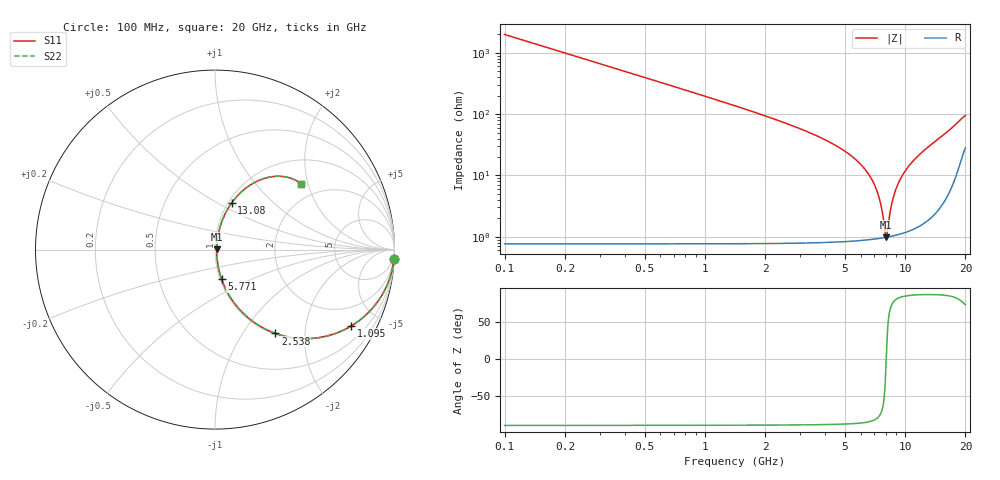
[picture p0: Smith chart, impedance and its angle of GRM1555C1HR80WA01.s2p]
!Murata Part Number: GRM1555C1HR80WA01
!These Parameters are Measured in Series Mode Connection
!Data Generated on Mar 30, 2021
!  o--ll--o
!Port1  Port2
!  o------o
!Operation Temp=25[degC], DC Bias Voltage=0[V]
!Freq. Start=100[MHz] Stop=20[GHz] 401[Steps]
# Hz S RI R 50
!Freq.(Hz) S11(Real) S11(Imag) S21(Real) S21(Imag) S12(Real) S12(Imag) S22(Real) S22(Imag)
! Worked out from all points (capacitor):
!   401 points, 100 MHz to 20 GHz, reference 50 ohm
!   read as one part in series: C = 800 fF near 199.5 MHz
!   lowest |Z| = 983 mohm at 8.06 GHz (marker M1)
!   series resonance near 8.051 GHz, so ESL is about 490 pH
!   S11 on the Smith chart (normalised r, x): 100 MHz: 1, -40; 1.095 GHz: 1.02, -3.57; 2.538 GHz: 1.02, -1.42; 5.771 GHz: 1.02, -0.34; 13.08 GHz: 1.04, +0.59; 20 GHz: 1.56, +1.81
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1e8  0.9975 -0.0501  0.00254 0.0501  0.00254 0.0501  0.9975 -0.0501
2.99e8  0.9777 -0.1471  0.0223 0.1471  0.0223 0.1471  0.9777 -0.1471
4.4825e8  0.9511 -0.2148  0.0489 0.2148  0.0489 0.2148  0.9511 -0.2148
7.4675e8  0.874 -0.3304  0.126 0.3304  0.126 0.3304  0.874 -0.3304
1.095e9  0.7601 -0.4249  0.2399 0.4249  0.2399 0.4249  0.7601 -0.4249
1.74175e9  0.5432 -0.4946  0.4568 0.4946  0.4568 0.4946  0.5432 -0.4946
2.53775e9  0.3364 -0.467  0.6636 0.467  0.6636 0.467  0.3364 -0.467
3.43325e9  0.1901 -0.3841  0.8099 0.3841  0.8099 0.3841  0.1901 -0.3841
5.7715e9  0.0364 -0.164  0.9636 0.164  0.9636 0.164  0.0364 -0.164
6.7665e9  0.0167 -0.0871  0.9833 0.0871  0.9833 0.0871  0.0167 -0.0871
7.463e9  0.0108 -0.0384  0.9892 0.0384  0.9892 0.0384  0.0108 -0.0384
7.9605e9  0.00968 -0.00576  0.9903 0.00576  0.9903 0.00576  0.00968 -0.00576
8.06e9  0.00972 0.000564  0.9903 -0.000564  0.9903 -0.000564  0.00972 0.000564
8.50775e9  0.0109 0.0283  0.9891 -0.0283  0.9891 -0.0283  0.0109 0.0283
8.80625e9  0.0125 0.0461  0.9875 -0.0461  0.9875 -0.0461  0.0125 0.0461
9.3535e9  0.017 0.0776  0.983 -0.0776  0.983 -0.0776  0.017 0.0776
1.005e10  0.0254 0.1157  0.9746 -0.1157  0.9746 -0.1157  0.0254 0.1157
1.13435e10  0.0482 0.1813  0.9518 -0.1813  0.9518 -0.1813  0.0482 0.1813
1.308475e10  0.0936 0.2612  0.9064 -0.2612  0.9064 -0.2612  0.0936 0.2612
1.338325e10  0.1032 0.2739  0.8968 -0.2739  0.8968 -0.2739  0.1032 0.2739
1.67165e10  0.2574 0.3906  0.7426 -0.3906  0.7426 -0.3906  0.2574 0.3906
2e10  0.4796 0.3677  0.5204 -0.3677  0.5204 -0.3677  0.4796 0.3677
